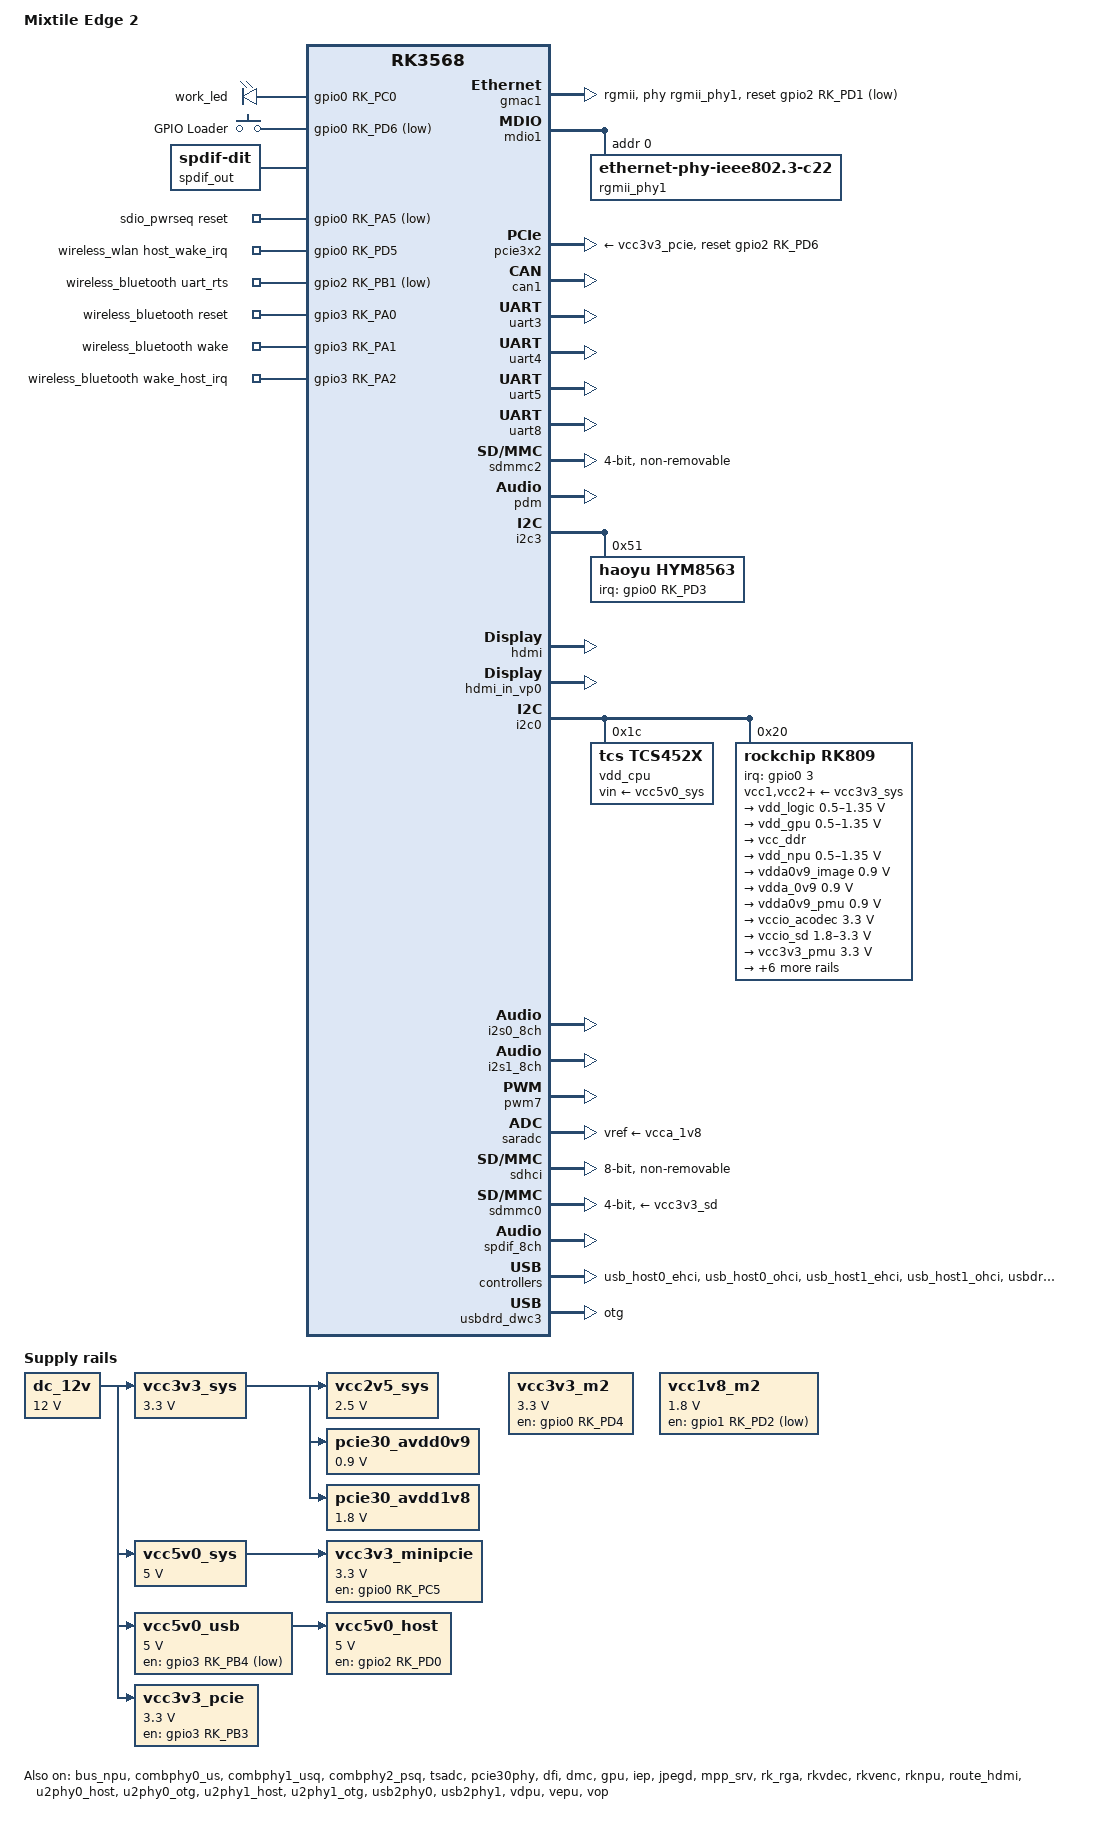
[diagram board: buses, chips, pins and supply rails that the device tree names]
/dts-v1/;
#include <dt-bindings/gpio/gpio.h>
#include <dt-bindings/pwm/pwm.h>
#include <dt-bindings/pinctrl/rockchip.h>
#include <dt-bindings/input/rk-input.h>
#include <dt-bindings/display/rockchip_vop.h>
#include <dt-bindings/display/drm_mipi_dsi.h>
#include <dt-bindings/sensor-dev.h>
#include "rk3568.dtsi"
#include "rk3568-linux.dtsi"

/ {

	model = "Mixtile Edge 2";
	compatible = "focalcrest,mixtile-edge2", "rockchip,rk3568";
	/delete-node/ chosen;

	leds: leds {
		compatible = "gpio-leds";
		work_led: work {
			gpios = <&gpio0 RK_PC0 GPIO_ACTIVE_HIGH>;
			linux,default-trigger = "heartbeat";
		};
			
	};

	keys: gpio-keys {
		compatible = "gpio-keys";
		#address-cells = <1>;
		#size-cells = <0>;
		status = "okay";

		button@0 {
			gpios = <&gpio0 RK_PD6 GPIO_ACTIVE_LOW>;
			label = "GPIO Loader";
			linux,code = <KEY_VOLUMEUP>;
		};
	};

	audiopwmout_diff: audiopwmout-diff {
		status = "disabled";
		compatible = "simple-audio-card";
		simple-audio-card,format = "i2s";
		simple-audio-card,name = "rockchip,audiopwmout-diff";
		simple-audio-card,mclk-fs = <256>;
		simple-audio-card,bitclock-master = <&master>;
		simple-audio-card,frame-master = <&master>;
		simple-audio-card,cpu {
			sound-dai = <&i2s3_2ch>;
		};
		master: simple-audio-card,codec {
			sound-dai = <&dig_acodec>;
		};
	};


	hdmi_sound: hdmi-sound {
		status = "okay";
		compatible = "rockchip,hdmi";
		rockchip,mclk-fs = <128>;
		rockchip,card-name = "rockchip-hdmi-sound";
		rockchip,cpu = <&i2s0_8ch>;
		rockchip,codec = <&hdmi>;
	};


	pdmics: dummy-codec {
		status = "disabled";
		compatible = "rockchip,dummy-codec";
		#sound-dai-cells = <0>;
	};

	pdm_mic_array: pdm-mic-array {
		status = "disabled";
		compatible = "simple-audio-card";
		simple-audio-card,name = "rockchip,pdm-mic-array";
		simple-audio-card,cpu {
			sound-dai = <&pdm>;
		};
		simple-audio-card,codec {
			sound-dai = <&pdmics>;
		};
	};

	reserved-memory {
		#address-cells = <2>;
		#size-cells = <2>;
		ranges;

		rknpu_reserved: rknpu {
			compatible = "shared-dma-pool";
			inactive;
			reusable;
			size = <0x0 0x20000000>;
			alignment = <0x0 0x1000>;
		};
	};

	rk809_sound: rk809-sound {
		status = "okay";
		compatible = "simple-audio-card";
		simple-audio-card,format = "i2s";
		simple-audio-card,name = "rockchip,rk809-codec";
		simple-audio-card,mclk-fs = <256>;

		simple-audio-card,cpu {
			sound-dai = <&i2s1_8ch>;
		};
		simple-audio-card,codec {
			sound-dai = <&rk809_codec>;
		};
	};

	spdif-sound {
		status = "okay";
		compatible = "simple-audio-card";
		simple-audio-card,name = "ROCKCHIP,SPDIF";
		simple-audio-card,cpu {
				sound-dai = <&spdif_8ch>;
		};
		simple-audio-card,codec {
				sound-dai = <&spdif_out>;
		};
	};

	spdif_out: spdif-out {
			status = "okay";
			compatible = "linux,spdif-dit";
			#sound-dai-cells = <0>;
	};

	vad_sound: vad-sound {
		status = "disabled";
		compatible = "rockchip,multicodecs-card";
		rockchip,card-name = "rockchip,rk3568-vad";
		rockchip,cpu = <&i2s1_8ch>;
		rockchip,codec = <&rk809_codec>, <&vad>;
	};

	dc_12v: dc-12v {
		compatible = "regulator-fixed";
		regulator-name = "dc_12v";
		regulator-always-on;
		regulator-boot-on;
		regulator-min-microvolt = <12000000>;
		regulator-max-microvolt = <12000000>;
	};

	vcc2v5_sys: vcc2v5-ddr {
		compatible = "regulator-fixed";
		regulator-name = "vcc2v5-sys";
		regulator-always-on;
		regulator-boot-on;
		regulator-min-microvolt = <2500000>;
		regulator-max-microvolt = <2500000>;
		vin-supply = <&vcc3v3_sys>;
	};

	vcc3v3_sys: vcc3v3-sys {
		compatible = "regulator-fixed";
		regulator-name = "vcc3v3_sys";
		regulator-always-on;
		regulator-boot-on;
		regulator-min-microvolt = <3300000>;
		regulator-max-microvolt = <3300000>;
		vin-supply = <&dc_12v>;
	};

	vcc5v0_sys: vcc5v0-sys {
		compatible = "regulator-fixed";
		regulator-name = "vcc5v0_sys";
		regulator-always-on;
		regulator-boot-on;
		regulator-min-microvolt = <5000000>;
		regulator-max-microvolt = <5000000>;
		vin-supply = <&dc_12v>;
	};

	vcc5v0_usb: vcc5v0-usb {
		compatible = "regulator-fixed";
		regulator-name = "vcc5v0_usb";
		regulator-always-on;
		regulator-boot-on;
		regulator-min-microvolt = <5000000>;
		regulator-max-microvolt = <5000000>;
		gpio = <&gpio3 RK_PB4 GPIO_ACTIVE_LOW>;
		vin-supply = <&dc_12v>;
	};

	vcc5v0_host: vcc5v0-host {
		compatible = "regulator-fixed";
		regulator-name = "vcc5v0_host";
		regulator-boot-on;
		regulator-always-on;
		regulator-min-microvolt = <5000000>;
		regulator-max-microvolt = <5000000>;
		enable-active-high;
		gpio = <&gpio2 RK_PD0 GPIO_ACTIVE_HIGH>;
		vin-supply = <&vcc5v0_usb>;
		pinctrl-names = "default";
		pinctrl-0 = <&vcc5v0_host_en>;
	};

	pcie30_avdd0v9: pcie30-avdd0v9 {
		compatible = "regulator-fixed";
		regulator-name = "pcie30_avdd0v9";
		regulator-always-on;
		regulator-boot-on;
		regulator-min-microvolt = <900000>;
		regulator-max-microvolt = <900000>;
		vin-supply = <&vcc3v3_sys>;
	};

	pcie30_avdd1v8: pcie30-avdd1v8 {
		compatible = "regulator-fixed";
		regulator-name = "pcie30_avdd1v8";
		regulator-always-on;
		regulator-boot-on;
		regulator-min-microvolt = <1800000>;
		regulator-max-microvolt = <1800000>;
		vin-supply = <&vcc3v3_sys>;
	};

	vcc3v3_pcie: vcc3v3-pcie {
		compatible = "regulator-fixed";
		regulator-name = "vcc3v3_pcie";
		regulator-min-microvolt = <3300000>;
		regulator-max-microvolt = <3300000>;
		enable-active-high;
		regulator-always-on;
		regulator-boot-on;
		gpio = <&gpio3 RK_PB3 GPIO_ACTIVE_HIGH>;
		vin-supply = <&dc_12v>;
	};

	vcc3v3_m2: vcc3v3-m2 {
		compatible = "regulator-fixed";
		regulator-name = "vcc3v3_m2";
		regulator-min-microvolt = <3300000>;
		regulator-max-microvolt = <3300000>;
		enable-active-high;
		regulator-always-on;
		regulator-boot-on;
		gpio = <&gpio0 RK_PD4 GPIO_ACTIVE_HIGH>;

	};

	vcc1v8_m2: vcc1v8-m2 {
		compatible = "regulator-fixed";
		regulator-name = "vcc1v8_m2";
		regulator-min-microvolt = <1800000>;
		regulator-max-microvolt = <1800000>;
		regulator-always-on;
		regulator-boot-on;
		pinctrl-names = "default";
		pinctrl-0 = <&vcc1v8_m2_pin>;
		gpio = <&gpio1 RK_PD2 GPIO_ACTIVE_LOW>;

	};

	vcc3v3_minipcie: vcc3v3-minipcie {
		compatible = "regulator-fixed";
		regulator-name = "vcc3v3_minipcie";
		regulator-always-on;
		regulator-boot-on;
		enable-active-high;
		regulator-min-microvolt = <3300000>;
		regulator-max-microvolt = <3300000>;
		gpio = <&gpio0 RK_PC5 GPIO_ACTIVE_HIGH>;
		vin-supply = <&vcc5v0_sys>;
	};

	sdio_pwrseq: sdio-pwrseq {
		compatible = "mmc-pwrseq-simple";
		clocks = <&rk809 1>;
		clock-names = "ext_clock";
		pinctrl-names = "default";
		pinctrl-0 = <&wifi_enable_h>;

		/*
		 * On the module itself this is one of these (depending
		 * on the actual card populated):
		 * - SDIO_RESET_L_WL_REG_ON
		 * - PDN (power down when low)
		 */
		post-power-on-delay-ms = <200>;
		reset-gpios = <&gpio0 RK_PA5 GPIO_ACTIVE_LOW>;
	};

	wireless_wlan: wireless-wlan {
		compatible = "wlan-platdata";
		clocks = <&rk809 1>;
		clock-names = "clk_wifi";
		rockchip,grf = <&grf>;
		wifi_chip_type = "ap6275s";
		pinctrl-names = "default";
		pinctrl-0 = <&wifi_host_wake_irq>;
		WIFI,host_wake_irq = <&gpio0 RK_PD5 GPIO_ACTIVE_HIGH>;
		status = "okay";
	};

	wireless_bluetooth: wireless-bluetooth {
		compatible = "bluetooth-platdata";
		clocks = <&rk809 1>;
		clock-names = "ext_clock";
		//wifi-bt-power-toggle;
		uart_rts_gpios = <&gpio2 RK_PB1 GPIO_ACTIVE_LOW>;
		pinctrl-names = "default", "rts_gpio";
		pinctrl-0 = <&uart8m0_rtsn>;
		pinctrl-1 = <&uart8_gpios>;
		BT,reset_gpio    = <&gpio3 RK_PA0 GPIO_ACTIVE_HIGH>;
		BT,wake_gpio     = <&gpio3 RK_PA1 GPIO_ACTIVE_HIGH>;
		BT,wake_host_irq = <&gpio3 RK_PA2 GPIO_ACTIVE_HIGH>;
		status = "okay";
	};

	test-power {
		status = "okay";
	};

};

&bus_npu {
	bus-supply = <&vdd_logic>;
	pvtm-supply = <&vdd_cpu>;
	status = "okay";
};

&combphy0_us {
	status = "okay";
};

&combphy1_usq {
	status = "okay";
};

&combphy2_psq {
	status = "okay";
};

&tsadc {
	rockchip,hw-tshut-mode = <1>;
	rockchip,hw-tshut-polarity = <0>;
	status = "okay";
};

&gmac1 {
	phy-mode = "rgmii";
	clock_in_out = "output";

	snps,reset-gpio = <&gpio2 RK_PD1 GPIO_ACTIVE_LOW>;
	snps,reset-active-low;
	/* Reset time is 20ms, 100ms for rtl8211f */
	snps,reset-delays-us = <0 20000 100000>;

	assigned-clocks = <&cru SCLK_GMAC1_RX_TX>, <&cru SCLK_GMAC1>;
	assigned-clock-parents = <&cru SCLK_GMAC1_RGMII_SPEED>, <&cru CLK_MAC1_2TOP>;
	assigned-clock-rates = <0>, <125000000>;

	pinctrl-names = "default";
	pinctrl-0 = <&gmac1m1_miim
		     &gmac1m1_tx_bus2
		     &gmac1m1_rx_bus2
		     &gmac1m1_rgmii_clk
		     &gmac1m1_rgmii_bus>;

	tx_delay = <0x4f>;
	rx_delay = <0x26>;

	phy-handle = <&rgmii_phy1>;
	status = "okay";
};

&mdio1 {
	rgmii_phy1: phy@0 {
		compatible = "ethernet-phy-ieee802.3-c22";
		reg = <0x0>;
	};
};

&pcie30phy {
	status = "okay";
};

&pcie3x2 {
	rockchip,bifurcation;
	reset-gpios = <&gpio2 RK_PD6 GPIO_ACTIVE_HIGH>;
	vpcie3v3-supply = <&vcc3v3_pcie>;
	status = "okay";
};

&can1 {
	assigned-clocks = <&cru CLK_CAN1>;
	assigned-clock-rates = <150000000>;
	pinctrl-names = "default";
	pinctrl-0 = <&can1m1_pins>;
	status = "okay";
};

&uart3 {
	status = "okay";
	pinctrl-0 = <&uart3m1_xfer>;
};

&uart4 {
	status = "okay";
	pinctrl-0 = <&uart4m1_xfer>;
};

&uart5 {
	status = "okay";
	pinctrl-0 = <&uart5m1_xfer>;
};

&uart8 {
	status = "okay";
	pinctrl-names = "default";
	pinctrl-0 = <&uart8m0_xfer &uart8m0_ctsn>;
};

&sdmmc2 {
	max-frequency = <150000000>;
	supports-sdio;
	bus-width = <4>;
	disable-wp;
	cap-sd-highspeed;
	cap-sdio-irq;
	keep-power-in-suspend;
	mmc-pwrseq = <&sdio_pwrseq>;
	non-removable;
	pinctrl-names = "default";
	pinctrl-0 = <&sdmmc2m0_bus4 &sdmmc2m0_cmd &sdmmc2m0_clk>;
	sd-uhs-sdr104;
	status = "okay";
};

&cpu0 {
	cpu-supply = <&vdd_cpu>;
};

&dfi {
	status = "okay";
};

&dmc {
	center-supply = <&vdd_logic>;
	status = "okay";
};

&pdm {
	pinctrl-0 = <&pdmm0_clk
			     &pdmm0_clk1
			     &pdmm0_sdi1
			     &pdmm0_sdi2
			     &pdmm0_sdi3>;
	status = "okay";
};

&i2c3 {
	status = "okay";

	hym8563: hym8563@51 {
		compatible = "haoyu,hym8563";
		reg = <0x51>;

		pinctrl-names = "default";
		pinctrl-0 = <&hym8563_int>;

		interrupt-parent = <&gpio0>;
		interrupts = <RK_PD3 IRQ_TYPE_LEVEL_LOW>;
		status = "okay";
	};
};

&gpu {
	mali-supply = <&vdd_gpu>;
	status = "okay";
};

&hdmi {
	status = "okay";
	rockchip,phy-table =
		<92812500  0x8009 0x0000 0x0270>,
		<165000000 0x800b 0x0000 0x026d>,
		<185625000 0x800b 0x0000 0x01ed>,
		<297000000 0x800b 0x0000 0x01ad>,
		<594000000 0x8029 0x0000 0x0088>,
		<000000000 0x0000 0x0000 0x0000>;
};

&hdmi_in_vp0 {
	status = "okay";
};

&hdmi_in_vp1 {
	status = "disabled";
};

&i2c0 {
	status = "okay";

	vdd_cpu: tcs4525@1c {
		compatible = "tcs,tcs452x";
		reg = <0x1c>;
		vin-supply = <&vcc5v0_sys>;
		regulator-compatible = "fan53555-reg";
		regulator-name = "vdd_cpu";
		regulator-min-microvolt = <712500>;
		regulator-max-microvolt = <1390000>;
		regulator-init-microvolt = <900000>;
		regulator-ramp-delay = <2300>;
		fcs,suspend-voltage-selector = <1>;
		regulator-boot-on;
		regulator-always-on;
		regulator-state-mem {
			regulator-off-in-suspend;
		};
	};

	rk809: pmic@20 {
		compatible = "rockchip,rk809";
		reg = <0x20>;
		interrupt-parent = <&gpio0>;
		interrupts = <3 IRQ_TYPE_LEVEL_LOW>;

		pinctrl-names = "default", "pmic-sleep",
				"pmic-power-off", "pmic-reset";
		pinctrl-0 = <&pmic_int>;
		pinctrl-1 = <&soc_slppin_slp>, <&rk817_slppin_slp>;
		pinctrl-2 = <&soc_slppin_gpio>, <&rk817_slppin_pwrdn>;
		pinctrl-3 = <&soc_slppin_gpio>, <&rk817_slppin_rst>;

		rockchip,system-power-controller;
		wakeup-source;
		#clock-cells = <1>;
		clock-output-names = "rk808-clkout1", "rk808-clkout2";
		//fb-inner-reg-idxs = <2>;
		/* 1: rst regs (default in codes), 0: rst the pmic */
		pmic-reset-func = <0>;
		/* not save the PMIC_POWER_EN register in uboot */
		not-save-power-en = <1>;

		vcc1-supply = <&vcc3v3_sys>;
		vcc2-supply = <&vcc3v3_sys>;
		vcc3-supply = <&vcc3v3_sys>;
		vcc4-supply = <&vcc3v3_sys>;
		vcc5-supply = <&vcc3v3_sys>;
		vcc6-supply = <&vcc3v3_sys>;
		vcc7-supply = <&vcc3v3_sys>;
		vcc8-supply = <&vcc3v3_sys>;
		vcc9-supply = <&vcc3v3_sys>;

		pwrkey {
			status = "okay";
		};

		pinctrl_rk8xx: pinctrl_rk8xx {
			gpio-controller;
			#gpio-cells = <2>;

			rk817_slppin_null: rk817_slppin_null {
				pins = "gpio_slp";
				function = "pin_fun0";
			};

			rk817_slppin_slp: rk817_slppin_slp {
				pins = "gpio_slp";
				function = "pin_fun1";
			};

			rk817_slppin_pwrdn: rk817_slppin_pwrdn {
				pins = "gpio_slp";
				function = "pin_fun2";
			};

			rk817_slppin_rst: rk817_slppin_rst {
				pins = "gpio_slp";
				function = "pin_fun3";
			};
		};

		regulators {
			vdd_logic: DCDC_REG1 {
				regulator-always-on;
				regulator-boot-on;
				regulator-min-microvolt = <500000>;
				regulator-max-microvolt = <1350000>;
				regulator-init-microvolt = <900000>;
				regulator-ramp-delay = <6001>;
				regulator-initial-mode = <0x2>;
				regulator-name = "vdd_logic";
				regulator-state-mem {
					regulator-off-in-suspend;
				};
			};

			vdd_gpu: DCDC_REG2 {
				regulator-always-on;
				regulator-boot-on;
				regulator-min-microvolt = <500000>;
				regulator-max-microvolt = <1350000>;
				regulator-init-microvolt = <900000>;
				regulator-ramp-delay = <6001>;
				regulator-initial-mode = <0x2>;
				regulator-name = "vdd_gpu";
				regulator-state-mem {
					regulator-off-in-suspend;
				};
			};

			vcc_ddr: DCDC_REG3 {
				regulator-always-on;
				regulator-boot-on;
				regulator-initial-mode = <0x2>;
				regulator-name = "vcc_ddr";
				regulator-state-mem {
					regulator-on-in-suspend;
				};
			};

			vdd_npu: DCDC_REG4 {
				regulator-always-on;
				regulator-boot-on;
				regulator-min-microvolt = <500000>;
				regulator-max-microvolt = <1350000>;
				regulator-init-microvolt = <900000>;
				regulator-ramp-delay = <6001>;
				regulator-initial-mode = <0x2>;
				regulator-name = "vdd_npu";
				regulator-state-mem {
					regulator-off-in-suspend;
				};
			};

			vdda0v9_image: LDO_REG1 {
				regulator-boot-on;
				regulator-always-on;
				regulator-min-microvolt = <900000>;
				regulator-max-microvolt = <900000>;
				regulator-name = "vdda0v9_image";
				regulator-state-mem {
					regulator-off-in-suspend;
				};
			};

			vdda_0v9: LDO_REG2 {
				regulator-always-on;
				regulator-boot-on;
				regulator-min-microvolt = <900000>;
				regulator-max-microvolt = <900000>;
				regulator-name = "vdda_0v9";
				regulator-state-mem {
					regulator-off-in-suspend;
				};
			};

			vdda0v9_pmu: LDO_REG3 {
				regulator-always-on;
				regulator-boot-on;
				regulator-min-microvolt = <900000>;
				regulator-max-microvolt = <900000>;
				regulator-name = "vdda0v9_pmu";
				regulator-state-mem {
					regulator-on-in-suspend;
					regulator-suspend-microvolt = <900000>;
				};
			};

			vccio_acodec: LDO_REG4 {
				regulator-always-on;
				regulator-boot-on;
				regulator-min-microvolt = <3300000>;
				regulator-max-microvolt = <3300000>;
				regulator-name = "vccio_acodec";
				regulator-state-mem {
					regulator-off-in-suspend;
				};
			};

			vccio_sd: LDO_REG5 {
				regulator-always-on;
				regulator-boot-on;
				regulator-min-microvolt = <1800000>;
				regulator-max-microvolt = <3300000>;
				regulator-name = "vccio_sd";
				regulator-state-mem {
					regulator-off-in-suspend;
				};
			};

			vcc3v3_pmu: LDO_REG6 {
				regulator-always-on;
				regulator-boot-on;
				regulator-min-microvolt = <3300000>;
				regulator-max-microvolt = <3300000>;
				regulator-name = "vcc3v3_pmu";
				regulator-state-mem {
					regulator-on-in-suspend;
					regulator-suspend-microvolt = <3300000>;
				};
			};

			vcca_1v8: LDO_REG7 {
				regulator-always-on;
				regulator-boot-on;
				regulator-min-microvolt = <1800000>;
				regulator-max-microvolt = <1800000>;
				regulator-name = "vcca_1v8";
				regulator-state-mem {
					regulator-off-in-suspend;
				};
			};

			vcca1v8_pmu: LDO_REG8 {
				regulator-always-on;
				regulator-boot-on;
				regulator-min-microvolt = <1800000>;
				regulator-max-microvolt = <1800000>;
				regulator-name = "vcca1v8_pmu";
				regulator-state-mem {
					regulator-on-in-suspend;
					regulator-suspend-microvolt = <1800000>;
				};
			};

			vcca1v8_image: LDO_REG9 {
				regulator-always-on;
				regulator-boot-on;
				regulator-min-microvolt = <1800000>;
				regulator-max-microvolt = <1800000>;
				regulator-name = "vcca1v8_image";
				regulator-state-mem {
					regulator-off-in-suspend;
				};
			};

			vcc_1v8: DCDC_REG5 {
				regulator-always-on;
				regulator-boot-on;
				regulator-min-microvolt = <1800000>;
				regulator-max-microvolt = <1800000>;
				regulator-name = "vcc_1v8";
				regulator-state-mem {
					regulator-off-in-suspend;
				};
			};

			vcc_3v3: SWITCH_REG1 {
				regulator-always-on;
				regulator-boot-on;
				regulator-name = "vcc_3v3";
				regulator-state-mem {
					regulator-off-in-suspend;
				};
			};

			vcc3v3_sd: SWITCH_REG2 {
				regulator-always-on;
				regulator-boot-on;
				regulator-name = "vcc3v3_sd";
				regulator-state-mem {
					regulator-off-in-suspend;
				};
			};
		};

		rk809_codec: codec {
			#sound-dai-cells = <0>;
			compatible = "rockchip,rk809-codec", "rockchip,rk817-codec";
			clocks = <&cru I2S1_MCLKOUT>;
			clock-names = "mclk";
			assigned-clocks = <&cru I2S1_MCLKOUT>, <&cru I2S1_MCLK_TX_IOE>;
			assigned-clock-rates = <12288000>;
			assigned-clock-parents = <&cru I2S1_MCLKOUT_TX>, <&cru I2S1_MCLKOUT_TX>;
			pinctrl-names = "default";
			pinctrl-0 = <&i2s1m0_mclk>;
			hp-volume = <20>;
			spk-volume = <3>;
			mic-in-differential;
			status = "okay";
		};
	};
};

&i2s0_8ch {
	status = "okay";
};

&i2s1_8ch {
	status = "okay";
	rockchip,clk-trcm = <1>;
	pinctrl-names = "default";
	pinctrl-0 = <&i2s1m0_sclktx
		     &i2s1m0_lrcktx
		     &i2s1m0_sdi0
		     &i2s1m0_sdo0>;
};

&iep {
	status = "okay";
};

&iep_mmu {
	status = "okay";
};

&jpegd {
	status = "okay";
};

&jpegd_mmu {
	status = "okay";
};

&mpp_srv {
	status = "okay";
};


 /*
  * There are 10 independent IO domains in RK3566/RK3568, including PMUIO[0:2] and VCCIO[1:7].
  * 1/ PMUIO0 and PMUIO1 are fixed-level power domains which cannot be configured;
  * 2/ PMUIO2 and VCCIO1,VCCIO[3:7] domains require that their hardware power supply voltages
  *    must be consistent with the software configuration correspondingly
  *	a/ When the hardware IO level is connected to 1.8V, the software voltage configuration
  *	   should also be configured to 1.8V accordingly;
  *	b/ When the hardware IO level is connected to 3.3V, the software voltage configuration
  *	   should also be configured to 3.3V accordingly;
  * 3/ VCCIO2 voltage control selection (0xFDC20140)
  *	BIT[0]: 0x0: from GPIO_0A7 (default)
  *	BIT[0]: 0x1: from GRF
  *    Default is determined by Pin FLASH_VOL_SEL/GPIO0_A7:
  *	L:VCCIO2 must supply 3.3V
  *	H:VCCIO2 must supply 1.8V
  */
&pmu_io_domains {
	status = "okay";
	pmuio2-supply = <&vcc3v3_pmu>;
	vccio1-supply = <&vccio_acodec>;
	vccio3-supply = <&vccio_sd>;
	vccio4-supply = <&vcc_1v8>;
	vccio5-supply = <&vcc_3v3>;
	vccio6-supply = <&vcc_1v8>;
	vccio7-supply = <&vcc_3v3>;
};

&pwm7 {
	status = "okay";

	compatible = "rockchip,remotectl-pwm";
	remote_pwm_id = <3>;
	handle_cpu_id = <1>;
	remote_support_psci = <0>;
	pinctrl-names = "default";
	pinctrl-0 = <&pwm7_pins>;

	ir_key1 {
		rockchip,usercode = <0x4040>;
		rockchip,key_table =
			<0xf2	KEY_REPLY>,
			<0xba	KEY_BACK>,
			<0xf4	KEY_UP>,
			<0xf1	KEY_DOWN>,
			<0xef	KEY_LEFT>,
			<0xee	KEY_RIGHT>,
			<0xbd	KEY_HOME>,
			<0xea	KEY_VOLUMEUP>,
			<0xe3	KEY_VOLUMEDOWN>,
			<0xe2	KEY_SEARCH>,
			<0xb2	KEY_POWER>,
			<0xbc	KEY_MUTE>,
			<0xec	KEY_MENU>,
			<0xbf	0x190>,
			<0xe0	0x191>,
			<0xe1	0x192>,
			<0xe9	183>,
			<0xe6	248>,
			<0xe8	185>,
			<0xe7	186>,
			<0xf0	388>,
			<0xbe	0x175>;
	};

	ir_key2 {
		rockchip,usercode = <0xff00>;
		rockchip,key_table =
			<0xf9	KEY_HOME>,
			<0xbf	KEY_BACK>,
			<0xfb	KEY_MENU>,
			<0xaa	KEY_REPLY>,
			<0xb9	KEY_UP>,
			<0xe9	KEY_DOWN>,
			<0xb8	KEY_LEFT>,
			<0xea	KEY_RIGHT>,
			<0xeb	KEY_VOLUMEDOWN>,
			<0xef	KEY_VOLUMEUP>,
			<0xf7	KEY_MUTE>,
			<0xe7	KEY_POWER>,
			<0xfc	KEY_POWER>,
			<0xa9	KEY_VOLUMEDOWN>,
			<0xa8	KEY_VOLUMEDOWN>,
			<0xe0	KEY_VOLUMEDOWN>,
			<0xa5	KEY_VOLUMEDOWN>,
			<0xab	183>,
			<0xb7	388>,
			<0xe8	388>,
			<0xf8	184>,
			<0xaf	185>,
			<0xed	KEY_VOLUMEDOWN>,
			<0xee	186>,
			<0xb3	KEY_VOLUMEDOWN>,
			<0xf1	KEY_VOLUMEDOWN>,
			<0xf2	KEY_VOLUMEDOWN>,
			<0xf3	KEY_SEARCH>,
			<0xb4	KEY_VOLUMEDOWN>,
			<0xbe	KEY_SEARCH>;
	};

	ir_key3 {
		rockchip,usercode = <0x1dcc>;
		rockchip,key_table =
			<0xee	KEY_REPLY>,
			<0xf0	KEY_BACK>,
			<0xf8	KEY_UP>,
			<0xbb	KEY_DOWN>,
			<0xef	KEY_LEFT>,
			<0xed	KEY_RIGHT>,
			<0xfc	KEY_HOME>,
			<0xf1	KEY_VOLUMEUP>,
			<0xfd	KEY_VOLUMEDOWN>,
			<0xb7	KEY_SEARCH>,
			<0xff	KEY_POWER>,
			<0xf3	KEY_MUTE>,
			<0xbf	KEY_MENU>,
			<0xf9	0x191>,
			<0xf5	0x192>,
			<0xb3	388>,
			<0xbe	KEY_1>,
			<0xba	KEY_2>,
			<0xb2	KEY_3>,
			<0xbd	KEY_4>,
			<0xf9	KEY_5>,
			<0xb1	KEY_6>,
			<0xfc	KEY_7>,
			<0xf8	KEY_8>,
			<0xb0	KEY_9>,
			<0xb6	KEY_0>,
			<0xb5	KEY_BACKSPACE>;
	};
};

&rk_rga {
	status = "okay";
};

&rkvdec {
	status = "okay";
};

&rkvdec_mmu {
	status = "okay";
};

&rkvenc {
	venc-supply = <&vdd_logic>;
	status = "okay";
};

&rkvenc_mmu {
	status = "okay";
};

&rknpu {
	rknpu-supply = <&vdd_npu>;
	status = "okay";
};

&rknpu_mmu {
	status = "okay";
};

&route_hdmi {
	status = "okay";
	connect = <&vp0_out_hdmi>;
};

&saradc {
	status = "okay";
	vref-supply = <&vcca_1v8>;
};

&sdhci {
	bus-width = <8>;
	supports-emmc;
	non-removable;
	max-frequency = <200000000>;
	status = "okay";
};

&sdmmc0 {
	max-frequency = <150000000>;
	supports-sd;
	bus-width = <4>;
	cap-mmc-highspeed;
	cap-sd-highspeed;
	disable-wp;
	sd-uhs-sdr104;
	vmmc-supply = <&vcc3v3_sd>;
	vqmmc-supply = <&vccio_sd>;
	pinctrl-names = "default";
	pinctrl-0 = <&sdmmc0_bus4 &sdmmc0_clk &sdmmc0_cmd &sdmmc0_det>;
	status = "okay";
};

&sfc {
	status = "disabled";
};

&spdif_8ch {
	status = "okay";
};

&tsadc {
	status = "okay";
};

&u2phy0_host {
	phy-supply = <&vcc5v0_host>;
	status = "okay";
};

&u2phy0_otg {
	status = "okay";
};

&u2phy1_host {
	phy-supply = <&vcc5v0_host>;
	status = "okay";
};

&u2phy1_otg {
	phy-supply = <&vcc5v0_host>;
	status = "okay";
};

&usb2phy0 {
	status = "okay";
};

&usb2phy1 {
	status = "okay";
};

&usb_host0_ehci {
	status = "okay";
};

&usb_host0_ohci {
	status = "okay";
};

&usb_host1_ehci {
	status = "okay";
};

&usb_host1_ohci {
	status = "okay";
};

&usbdrd_dwc3 {
	dr_mode = "otg";
	extcon = <&usb2phy0>;
	status = "okay";
};

&usbdrd30 {
	status = "okay";
};

&usbhost_dwc3 {
	status = "okay";
};

&usbhost30 {
	status = "okay";
};

&vad {
	rockchip,audio-src = <&i2s1_8ch>;
	rockchip,buffer-time-ms = <128>;
	rockchip,det-channel = <0>;
	rockchip,mode = <0>;
};

&vdpu {
	status = "okay";
};

&vdpu_mmu {
	status = "okay";
};

&vepu {
	status = "okay";
};

&vepu_mmu {
	status = "okay";
};

&vop {
	status = "okay";
	assigned-clocks = <&cru DCLK_VOP0>, <&cru DCLK_VOP1>;
	assigned-clock-parents = <&pmucru PLL_HPLL>, <&cru PLL_VPLL>;
};

&vop_mmu {
	status = "okay";
};

&pinctrl {

	pmic {
		pmic_int: pmic_int {
			rockchip,pins =
				<0 RK_PA3 RK_FUNC_GPIO &pcfg_pull_up>;
		};

		soc_slppin_gpio: soc_slppin_gpio {
			rockchip,pins =
				<0 RK_PA2 RK_FUNC_GPIO &pcfg_output_low_pull_down>;
		};

		soc_slppin_slp: soc_slppin_slp {
			rockchip,pins =
				<0 RK_PA2 1 &pcfg_pull_up>;
		};

		soc_slppin_rst: soc_slppin_rst {
			rockchip,pins =
				<0 RK_PA2 2 &pcfg_pull_none>;
		};
	};

	sdio-pwrseq {
		wifi_enable_h: wifi-enable-h {
			rockchip,pins = <0 RK_PA5 RK_FUNC_GPIO &pcfg_pull_none>;
		};
	};

	hym8563 {
		hym8563_int: hym8563-int {
			rockchip,pins = <0 RK_PD3 RK_FUNC_GPIO &pcfg_pull_up>;
		};
	};

	bt {
		 bt_enable: bt-enable {
			 rockchip,pins = <3 RK_PA0 RK_FUNC_GPIO &pcfg_pull_none>;
		 };

		 bt_host_wake: bt-host-wake {
			 rockchip,pins = <3 RK_PA1 RK_FUNC_GPIO &pcfg_pull_down>;
		 };

		 bt_wake: bt-wake {
			 rockchip,pins = <3 RK_PA2 RK_FUNC_GPIO &pcfg_pull_none>;
		 };
	 };

	usb {
		vcc5v0_host_en: vcc5v0-host-en {
			rockchip,pins = <2 RK_PD0 RK_FUNC_GPIO &pcfg_pull_none>;
		};
	};

	wireless-wlan {
		wifi_host_wake_irq: wifi-host-wake-irq {
			rockchip,pins = <0 RK_PD5 RK_FUNC_GPIO &pcfg_pull_down>;
		};
	};

	wireless-bluetooth {
		uart8_gpios: uart8-gpios {
			rockchip,pins = <2 RK_PB1 RK_FUNC_GPIO &pcfg_pull_none>;
		};
	};

	vcc1v8-m2-pin {
		vcc1v8_m2_pin: vcc1v8-m2-pin {
			rockchip,pins = <1 RK_PD2 RK_FUNC_GPIO &pcfg_pull_none>;
		};
	};
};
